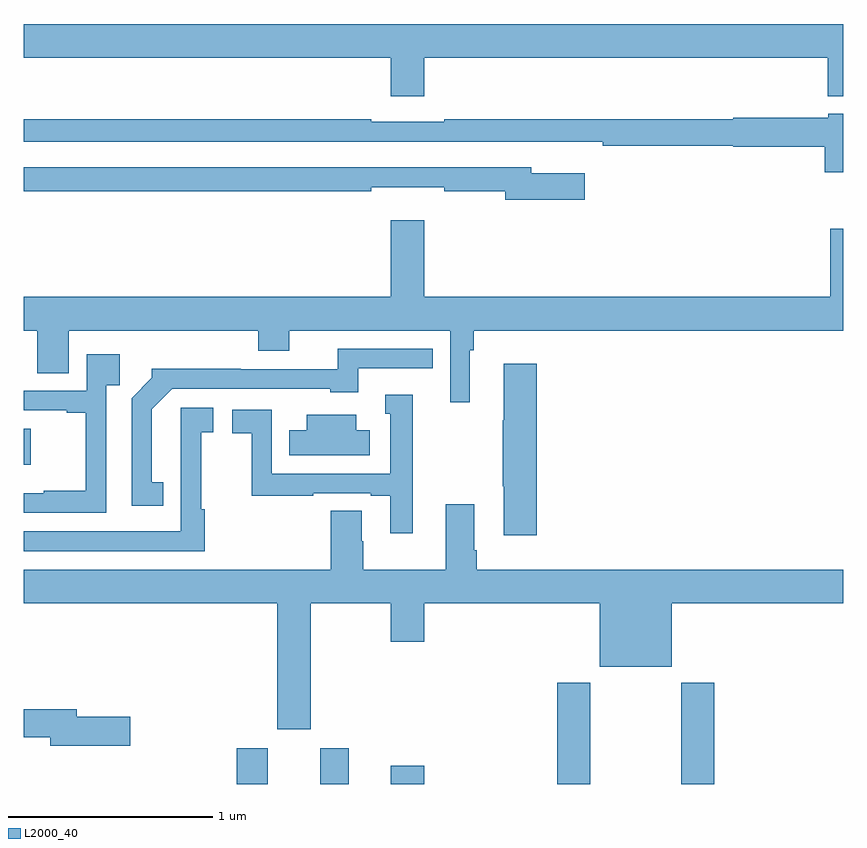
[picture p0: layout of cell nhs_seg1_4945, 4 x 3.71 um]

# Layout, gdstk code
import gdstk
lib = gdstk.Library(unit=1e-6, precision=1e-09)
def R(c, l, rs):  # rectangles x0, y0, x1, y1
    for r in rs: c.add(gdstk.rectangle(r[:2], r[2:], *l))
def P(c, l, *ps):  # polygons
    for p in ps: c.add(gdstk.Polygon(p, *l))
L2000_40 = (2000, 40)

nhs_seg1_4945 = lib.new_cell('nhs_seg1_4945')
R(nhs_seg1_4945, L2000_40, [(380.039,536.199,380.191,536.374), (380.447,536.199,380.587,536.374), (380.792,536.199,380.956,536.287), (381.605,536.199,381.765,536.692), (382.21,536.199,382.37,536.692), (379,537.756,379.034,537.933)])
P(nhs_seg1_4945, L2000_40, [(383,539.908),(379,539.908),(379,539.744),(380.792,539.744),(380.792,539.556),(380.956,539.556),(380.956,539.744),(382.925,539.744),(382.925,539.555),(383,539.555)],
  [(383,539.47),(382.926,539.47),(382.926,539.451),(382.464,539.451),(382.464,539.443),(381.052,539.443),(381.052,539.43),(380.696,539.43),(380.696,539.443),(379,539.443),(379,539.334),(381.574,539.334),(381.574,539.333),(381.826,539.333),(381.826,539.314),(382.464,539.314),(382.464,539.309),(382.91,539.309),(382.91,539.184),(383,539.184)],
  [(381.739,539.179),(381.478,539.179),(381.478,539.208),(379,539.208),(379,539.092),(380.696,539.092),(380.696,539.111),(381.052,539.111),(381.052,539.092),(381.35,539.092),(381.35,539.05),(381.739,539.05)],
  [(381.178,538.316),(381.197,538.316),(381.197,538.412),(383,538.412),(383,538.909),(382.936,538.909),(382.936,538.576),(380.956,538.576),(380.956,538.951),(380.792,538.951),(380.792,538.576),(379,538.576),(379,538.412),(379.067,538.412),(379.067,538.204),(379.219,538.204),(379.219,538.412),(380.144,538.412),(380.144,538.313),(380.296,538.313),(380.296,538.412),(381.081,538.412),(381.081,538.062),(381.178,538.062)],
  [(379.682,537.671),(379.624,537.671),(379.624,538.027),(379.725,538.128),(380.496,538.128),(380.496,538.112),(380.632,538.112),(380.632,538.227),(380.996,538.227),(380.996,538.323),(380.533,538.323),(380.533,538.224),(380.06,538.224),(380.06,538.226),(379.626,538.226),(379.626,538.181),(379.527,538.082),(379.527,537.558),(379.682,537.558)],
  [(379.404,538.145),(379.469,538.145),(379.469,538.297),(379.308,538.297),(379.308,538.119),(379,538.119),(379,538.023),(379.211,538.023),(379.211,538.011),(379.303,538.011),(379.303,537.631),(379.097,537.631),(379.097,537.619),(379,537.619),(379,537.522),(379.404,537.522)],
  [(381.503,538.249),(381.344,538.249),(381.344,537.974),(381.337,537.974),(381.337,537.652),(381.344,537.652),(381.344,537.414),(381.503,537.414)],
  [(380.899,538.099),(380.765,538.099),(380.765,538.005),(380.79,538.005),(380.79,537.714),(380.211,537.714),(380.211,538.026),(380.019,538.026),(380.019,537.91),(380.113,537.91),(380.113,537.606),(380.414,537.606),(380.414,537.618),(380.693,537.618),(380.693,537.606),(380.789,537.606),(380.789,537.423),(380.899,537.423)],
  [(379.883,537.539),(379.866,537.539),(379.866,537.915),(379.924,537.915),(379.924,538.036),(379.766,538.036),(379.766,537.76),(379.767,537.76),(379.767,537.432),(379,537.432),(379,537.336),(379.883,537.336)],
  [(380.689,537.925),(380.623,537.925),(380.623,538),(380.381,538),(380.381,537.925),(380.296,537.925),(380.296,537.803),(380.689,537.803)],
  [(380.401,537.08),(380.792,537.08),(380.792,536.892),(380.956,536.892),(380.956,537.08),(381.812,537.08),(381.812,536.771),(382.162,536.771),(382.162,537.08),(383,537.08),(383,537.244),(381.212,537.244),(381.212,537.34),(381.199,537.34),(381.199,537.565),(381.059,537.565),(381.059,537.244),(380.658,537.244),(380.658,537.383),(380.65,537.383),(380.65,537.533),(380.498,537.533),(380.498,537.244),(379,537.244),(379,537.08),(380.237,537.08),(380.237,536.466),(380.401,536.466)],
  [(379.519,536.528),(379.258,536.528),(379.258,536.564),(379,536.564),(379,536.428),(379.13,536.428),(379.13,536.386),(379.519,536.386)])

lib.write_gds('nhs_seg1_4945.gds')
